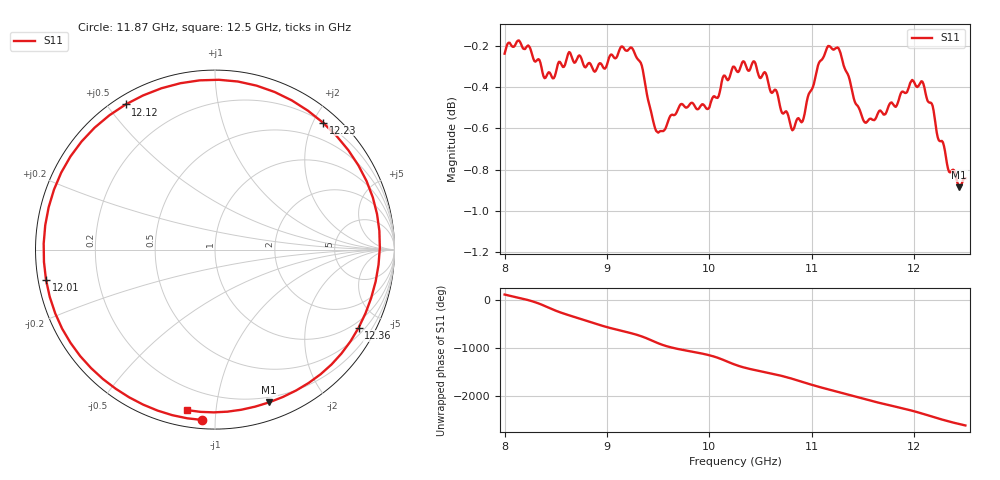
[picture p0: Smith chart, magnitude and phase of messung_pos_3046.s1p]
#  HZ  S  RI  R  50.00
! Rohde & Schwarz Vector Network Analyzer
! Rohde-Schwarz,ZNA43-4Port,1332450044101932,2.92
! Created: UTC 6/1/2026, 11:35:00 AM
! freq[Hz]  re:S11  im:S11
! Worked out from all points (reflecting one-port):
!   451 points, 8 GHz to 12.5 GHz, reference 50 ohm
!   lowest |S11| = -0.9 dB at 12.44 GHz (marker M1), VSWR 19.61, Z = 7.63 - j70.3 ohm
!   phase of S11 starts at 113 deg and turns -2732 deg over the sweep
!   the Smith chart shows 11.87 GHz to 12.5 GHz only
!   S11 on the Smith chart (normalised r, x): 11.87 GHz: 0.05, -0.93; 12.01 GHz: 0.02, -0.09; 12.12 GHz: 0.03, +0.56; 12.23 GHz: 0.21, +2.15; 12.36 GHz: 0.74, -3.79; 12.5 GHz: 0.08, -0.84
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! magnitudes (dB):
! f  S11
! 8 GHz  -0.2
! 8.23 GHz  -0.2
! 8.4 GHz  -0.4
! 8.57 GHz  -0.3
! 8.63 GHz  -0.2
! 8.88 GHz  -0.3
! 9.13 GHz  -0.2
! 9.33 GHz  -0.3
! 9.49 GHz  -0.6
! 9.69 GHz  -0.5
! 9.99 GHz  -0.5
! 10.25 GHz  -0.3
! 10.44 GHz  -0.3
! 10.82 GHz  -0.6
! 10.91 GHz  -0.6
! 11.16 GHz  -0.2
! 11.26 GHz  -0.2
! 11.38 GHz  -0.4
! 11.53 GHz  -0.6
! 11.87 GHz  -0.4
! 11.94 GHz  -0.4
! 12.01 GHz  -0.4
! 12.12 GHz  -0.4
! 12.18 GHz  -0.5
! 12.23 GHz  -0.6
! 12.36 GHz  -0.8
! 12.44 GHz  -0.9
! 12.5 GHz  -0.8
